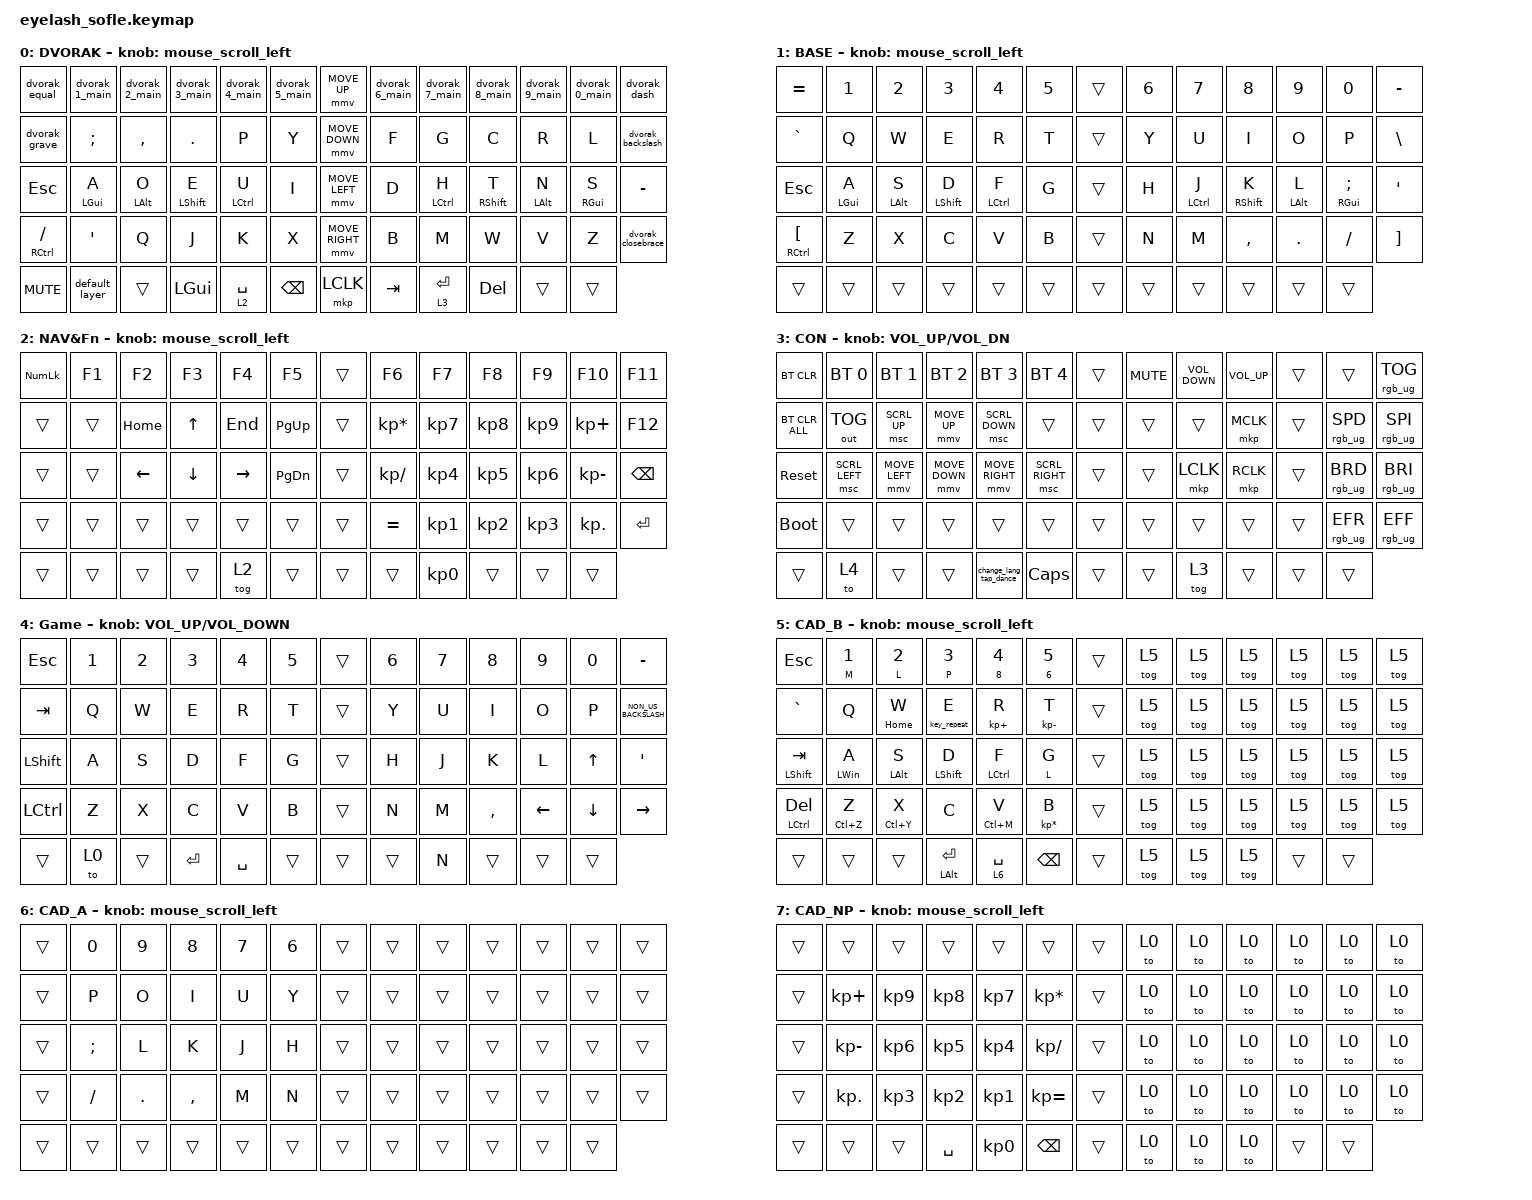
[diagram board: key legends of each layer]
#define ZMK_POINTING_DEFAULT_MOVE_VAL 1200  // 600
#define ZMK_POINTING_DEFAULT_SCRL_VAL 25   // 10

#include <input/processors.dtsi>
#include <zephyr/dt-bindings/input/input-event-codes.h>
#include <behaviors.dtsi>
#include <dt-bindings/zmk/bt.h>
#include <dt-bindings/zmk/keys.h>
#include <dt-bindings/zmk/outputs.h>
#include <dt-bindings/zmk/pointing.h>
#include <dt-bindings/zmk/rgb.h>

&mmv_input_listener { input-processors = <&zip_xy_scaler 2 1>; };

&msc_input_listener { input-processors = <&zip_scroll_scaler 2 1>; };

&msc {
    acceleration-exponent = <1>;      // 0
    time-to-max-speed-ms = <100>;       // 300
    delay-ms = <0>;                   // 0
};

&mmv {
    time-to-max-speed-ms = <500>;
    acceleration-exponent = <1>;
    trigger-period-ms = <16>;
};

&mt {
    flavor = "balanced";
    tapping-term-ms = <280>;
    quick-tap-ms = <175>;
    require-prior-idle-ms = <150>;
};

&lt {
    tapping-term-ms = <280>;
    quick-tap-ms = <175>;
    require-prior-idle-ms = <150>;
    flavor = "balanced";
};

/ {
    combos {
        compatible = "zmk,combos";

        tog2a {
            bindings = <&tog 2>;
            key-positions = <34 35 36>;
            layers = <0 1 2>;
        };

        tog2b {
            bindings = <&tog 2>;
            key-positions = <30 29 28>;
            layers = <2>;
        };

        tog2c {
            bindings = <&tog 2>;
            key-positions = <28 16 30>;
            layers = <0 1 2>;
        };

        tog3a {
            bindings = <&tog 3>;
            key-positions = <30 29 28>;
            layers = <0 1 3>;
        };

        tog3b {
            bindings = <&tog 3>;
            key-positions = <34 35 36>;
            layers = <3>;
        };

        Numpad_Enter1 {
            bindings = <&kp ENTER>;
            key-positions = <34 35>;
            layers = <2>;
        };

        Numpad_Enter2 {
            bindings = <&kp ENTER>;
            key-positions = <30 29>;
            layers = <2 7>;
        };

        Numpad_ESC1 {
            bindings = <&kp ESCAPE>;
            key-positions = <35 36>;
            layers = <2>;
        };

        Numpad_ESC2 {
            bindings = <&kp ESCAPE>;
            key-positions = <29 28>;
            layers = <2 7>;
        };

        togCAD1 {
            bindings = <&tog 5>;
            key-positions = <29 27 30>;
            layers = <0 1 2>;
        };

        togCAD2 {
            bindings = <&tog 5>;
            key-positions = <28 29 30>;
            layers = <5>;
        };

        toBase {
            bindings = <&to 0>;
            key-positions = <28 29 30 34 35 36>;
        };

        togCadNP1 {
            bindings = <&tog 7>;
            key-positions = <15 16 17>;
            layers = <5 7>;
        };

        togCadNP2 {
            bindings = <&tog 7>;
            key-positions = <28 29 30>;
            layers = <7>;
        };
    };

    hml: hml {
        compatible = "zmk,behavior-hold-tap";
        label = "HML";
        bindings = <&kp>, <&kp>;

        #binding-cells = <2>;
        tapping-term-ms = <280>;
        quick-tap-ms = <175>;
        require-prior-idle-ms = <150>;
        flavor = "balanced";
        hold-trigger-on-release;
        hold-trigger-key-positions = <7 8 9 10 11 12 20 21 22 23 24 25 33 34 35 36 37 38 46 47 48 49 50 51 60 61 62 63 59 57 56 55 54 53>;
    };

    hmr: hmr {
        compatible = "zmk,behavior-hold-tap";
        label = "HMR";
        bindings = <&kp>, <&kp>;

        #binding-cells = <2>;
        tapping-term-ms = <280>;
        quick-tap-ms = <175>;
        require-prior-idle-ms = <150>;
        flavor = "balanced";
        hold-trigger-on-release;
        hold-trigger-key-positions = <0 1 2 3 4 5 13 14 15 16 17 18 26 27 28 29 30 31 39 40 41 42 43 44 53 54 55 56 57 59 60 61 63 62>;
    };

    ltthumb: ltthumb {
        compatible = "zmk,behavior-hold-tap";
        label = "LTTHUMB";
        bindings = <&mo>, <&kp>;

        #binding-cells = <2>;
        tapping-term-ms = <280>;
        quick-tap-ms = <175>;
        require-prior-idle-ms = <150>;
        flavor = "balanced";
    };

    dvorak_equal: dvorak_equal {
        compatible = "zmk,behavior-mod-morph";
        label = "DVORAK_EQUAL";
        bindings = <&kp PIPE>, <&kp GRAVE>;

        #binding-cells = <0>;
        mods = <(MOD_LSFT|MOD_RSFT)>;
    };

    dvorak_grave: dvorak_grave {
        compatible = "zmk,behavior-mod-morph";
        label = "DVORAK_GRAVE";
        bindings = <&kp DLLR>, <&kp TILDE>;

        #binding-cells = <0>;
        mods = <(MOD_LSFT|MOD_RSFT)>;
    };

    dvorak_dash: dvorak_dash {
        compatible = "zmk,behavior-mod-morph";
        label = "DVORAK_DASH";
        bindings = <&kp EXCL>, <&kp PRCNT>;

        #binding-cells = <0>;
        mods = <(MOD_LSFT|MOD_RSFT)>;
    };

    dvorak_backslash: dvorak_backslash {
        compatible = "zmk,behavior-mod-morph";
        label = "DVORAK_BACKSLASH";
        bindings = <&kp BACKSLASH>, <&kp HASH>;

        #binding-cells = <0>;
        mods = <(MOD_LSFT|MOD_RSFT)>;
    };

    dvorak_closebrace: dvorak_closebrace {
        compatible = "zmk,behavior-mod-morph";
        label = "DVORAK_CLOSEBRACE";
        bindings = <&kp AT>, <&kp CARET>;

        #binding-cells = <0>;
        mods = <(MOD_LSFT|MOD_RSFT)>;
    };

    dvorak_1: dvorak_1 {
        compatible = "zmk,behavior-mod-morph";
        label = "DVORAK_1";
        bindings = <&kp PLUS>, <&kp NUMBER_1>;

        #binding-cells = <0>;
        mods = <(MOD_RSFT)>;
    };

    dvorak_2: dvorak_2 {
        compatible = "zmk,behavior-mod-morph";
        label = "DVORAK_2";
        bindings = <&kp LEFT_BRACKET>, <&kp NUMBER_2>;

        #binding-cells = <0>;
        mods = <(MOD_RSFT)>;
    };

    dvorak_3: dvorak_3 {
        compatible = "zmk,behavior-mod-morph";
        label = "DVORAK_3";
        bindings = <&kp LBRC>, <&kp NUMBER_3>;

        #binding-cells = <0>;
        mods = <(MOD_RSFT)>;
    };

    dvorak_4: dvorak_4 {
        compatible = "zmk,behavior-mod-morph";
        label = "DVORAK_4";
        bindings = <&kp LPAR>, <&kp NUMBER_4>;

        #binding-cells = <0>;
        mods = <(MOD_RSFT)>;
    };

    dvorak_5: dvorak_5 {
        compatible = "zmk,behavior-mod-morph";
        label = "DVORAK_5";
        bindings = <&kp AMPS>, <&kp N5>;

        #binding-cells = <0>;
        mods = <(MOD_RSFT)>;
    };

    dvorak_6: dvorak_6 {
        compatible = "zmk,behavior-mod-morph";
        label = "DVORAK_6";
        bindings = <&kp EQUAL>, <&kp NUMBER_6>;

        #binding-cells = <0>;
        mods = <(MOD_LSFT)>;
    };

    dvorak_7: dvorak_7 {
        compatible = "zmk,behavior-mod-morph";
        label = "DVORAK_7";
        bindings = <&kp RPAR>, <&kp N7>;

        #binding-cells = <0>;
        mods = <(MOD_LSFT)>;
    };

    dvorak_8: dvorak_8 {
        compatible = "zmk,behavior-mod-morph";
        label = "DVORAK_8";
        bindings = <&kp RBRC>, <&kp N8>;

        #binding-cells = <0>;
        mods = <(MOD_LSFT)>;
    };

    dvorak_9: dvorak_9 {
        compatible = "zmk,behavior-mod-morph";
        label = "DVORAK_9";
        bindings = <&kp RIGHT_BRACKET>, <&kp N9>;

        #binding-cells = <0>;
        mods = <(MOD_LSFT)>;
    };

    dvorak_0: dvorak_0 {
        compatible = "zmk,behavior-mod-morph";
        label = "DVORAK_0";
        bindings = <&kp STAR>, <&kp N0>;

        #binding-cells = <0>;
        mods = <(MOD_LSFT)>;
    };

    dvorak_1_main: dvorak_1_main {
        compatible = "zmk,behavior-mod-morph";
        label = "DVORAK_1_MAIN";
        bindings = <&dvorak_1>, <&kp NUMBER_1>;

        #binding-cells = <0>;
        mods = <(MOD_LCTL|MOD_LALT|MOD_RGUI)>;
        keep-mods = <(MOD_LCTL|MOD_LALT|MOD_RGUI)>;
    };

    dvorak_2_main: dvorak_2_main {
        compatible = "zmk,behavior-mod-morph";
        label = "DVORAK_2_MAIN";
        bindings = <&dvorak_2>, <&kp NUMBER_2>;

        #binding-cells = <0>;
        mods = <(MOD_LCTL|MOD_LALT|MOD_RGUI)>;
        keep-mods = <(MOD_LCTL|MOD_LALT|MOD_RGUI)>;
    };

    dvorak_3_main: dvorak_3_main {
        compatible = "zmk,behavior-mod-morph";
        label = "DVORAK_3_MAIN";
        bindings = <&dvorak_3>, <&kp NUMBER_3>;

        #binding-cells = <0>;
        mods = <(MOD_LCTL|MOD_LALT|MOD_RGUI)>;
        keep-mods = <(MOD_LCTL|MOD_LALT|MOD_RGUI)>;
    };

    dvorak_4_main: dvorak_4_main {
        compatible = "zmk,behavior-mod-morph";
        label = "DVORAK_4_MAIN";
        bindings = <&dvorak_4>, <&kp NUMBER_4>;

        #binding-cells = <0>;
        mods = <(MOD_LCTL|MOD_LALT|MOD_RGUI)>;
        keep-mods = <(MOD_LCTL|MOD_LALT|MOD_RGUI)>;
    };

    dvorak_5_main: dvorak_5_main {
        compatible = "zmk,behavior-mod-morph";
        label = "DVORAK_5_MAIN";
        bindings = <&dvorak_5>, <&kp N5>;

        #binding-cells = <0>;
        mods = <(MOD_LCTL|MOD_LALT|MOD_RGUI)>;
        keep-mods = <(MOD_LCTL|MOD_LALT|MOD_RGUI)>;
    };

    dvorak_6_main: dvorak_6_main {
        compatible = "zmk,behavior-mod-morph";
        label = "DVORAK_6_MAIN";
        bindings = <&dvorak_6>, <&kp NUMBER_6>;

        #binding-cells = <0>;
        mods = <(MOD_LCTL|MOD_LALT|MOD_LGUI)>;
        keep-mods = <(MOD_LCTL|MOD_LALT|MOD_LGUI)>;
    };

    dvorak_7_main: dvorak_7_main {
        compatible = "zmk,behavior-mod-morph";
        label = "DVORAK_7_MAIN";
        bindings = <&dvorak_7>, <&kp NUMBER_7>;

        #binding-cells = <0>;
        mods = <(MOD_LCTL|MOD_LALT|MOD_LGUI)>;
        keep-mods = <(MOD_LCTL|MOD_LALT|MOD_LGUI)>;
    };

    dvorak_8_main: dvorak_8_main {
        compatible = "zmk,behavior-mod-morph";
        label = "DVORAK_8_MAIN";
        bindings = <&dvorak_8>, <&kp N8>;

        #binding-cells = <0>;
        mods = <(MOD_LCTL|MOD_LALT|MOD_LGUI)>;
        keep-mods = <(MOD_LCTL|MOD_LALT|MOD_LGUI)>;
    };

    dvorak_9_main: dvorak_9_main {
        compatible = "zmk,behavior-mod-morph";
        label = "DVORAK_9_MAIN";
        bindings = <&dvorak_9>, <&kp N9>;

        #binding-cells = <0>;
        mods = <(MOD_LCTL|MOD_LALT|MOD_LGUI)>;
        keep-mods = <(MOD_LCTL|MOD_LALT|MOD_LGUI)>;
    };

    dvorak_0_main: dvorak_0_main {
        compatible = "zmk,behavior-mod-morph";
        label = "DVORAK_0_MAIN";
        bindings = <&dvorak_0>, <&kp N0>;

        #binding-cells = <0>;
        mods = <(MOD_LCTL|MOD_LALT|MOD_LGUI)>;
        keep-mods = <(MOD_LCTL|MOD_LALT|MOD_LGUI)>;
    };

    default_layer: default_layer {
        compatible = "zmk,behavior-tap-dance";
        label = "DEFAULT_LAYER";
        #binding-cells = <0>;
        bindings = <&tog 1>, <&to 0>;

        tapping-term-ms = <175>;
    };

    change_lang_tap_dance: change_lang_tap_dance {
        compatible = "zmk,behavior-tap-dance";
        label = "CHANGE_LANG_TAP_DANCE";
        #binding-cells = <0>;
        bindings = <&change_lang>, <&to 0>, <&to 1>;

        tapping-term-ms = <175>;
    };

    mouse_scroll_left: mouse_scroll_left {
        compatible = "zmk,behavior-sensor-rotate";
        #sensor-binding-cells = <0>;
        tap-ms = <100>;
        label = "MOUSE_SCROLL_LEFT";
        bindings = <&msc SCRL_DOWN>, <&msc SCRL_UP>;
    };

    taprepeat: taprepeat {
        compatible = "zmk,behavior-hold-tap";
        label = "TAPREPEAT";
        bindings = <&key_repeat>, <&kp>;

        #binding-cells = <2>;
        flavor = "balanced";
        tapping-term-ms = <280>;
        quick-tap-ms = <175>;
        require-prior-idle-ms = <150>;
    };

    layerhold: layerhold {
        compatible = "zmk,behavior-hold-tap";
        label = "LAYERHOLD";
        bindings = <&tog>, <&kp>;

        #binding-cells = <2>;
        flavor = "balanced";
        tapping-term-ms = <280>;
        quick-tap-ms = <175>;
        require-prior-idle-ms = <150>;
    };

    behaviors {
    };

    macros {
        change_lang: change_lang {
            compatible = "zmk,behavior-macro";
            #binding-cells = <0>;
            bindings = <&tog 1 &kp LG(SPACE)>;
            label = "CHANGE_LANG";
        };
    };

    keymap {
        compatible = "zmk,keymap";

        dvorak {
            display-name = "DVORAK";
            bindings = <
&dvorak_equal             &dvorak_1_main   &dvorak_2_main   &dvorak_3_main     &dvorak_4_main       &dvorak_5_main    &mmv MOVE_UP     &dvorak_6_main  &dvorak_7_main       &dvorak_8_main      &dvorak_9_main   &dvorak_0_main    &dvorak_dash
&dvorak_grave             &kp SEMICOLON    &kp COMMA        &kp PERIOD         &kp P                &kp Y             &mmv MOVE_DOWN   &kp F           &kp G                &kp C               &kp R            &kp L             &dvorak_backslash
&kp ESCAPE                &hml LEFT_GUI A  &hml LEFT_ALT O  &hml LEFT_SHIFT E  &hml LEFT_CONTROL U  &kp I             &mmv MOVE_LEFT   &kp D           &hmr LEFT_CONTROL H  &hmr RIGHT_SHIFT T  &hmr LEFT_ALT N  &hmr RIGHT_GUI S  &kp MINUS
&hml RIGHT_CONTROL SLASH  &kp SQT          &kp Q            &kp J              &kp K                &kp X             &mmv MOVE_RIGHT  &kp B           &kp M                &kp W               &kp V            &kp Z             &dvorak_closebrace
&kp C_MUTE                &default_layer   &trans           &kp LEFT_GUI       &ltthumb 2 SPACE     &kp BACKSPACE     &mkp LCLK        &kp TAB         &ltthumb 3 ENTER     &kp DELETE          &trans           &trans
            >;

            sensor-bindings = <&mouse_scroll_left>;
        };

        base {
            bindings = <
&kp EQUAL                        &kp N1           &kp N2           &kp N3             &kp N4               &kp N5    &trans  &kp N6  &kp N7               &kp N8              &kp N9           &kp N0               &kp MINUS
&kp GRAVE                        &kp Q            &kp W            &kp E              &kp R                &kp T     &trans  &kp Y   &kp U                &kp I               &kp O            &kp P                &kp BACKSLASH
&kp ESCAPE                       &hml LEFT_GUI A  &hml LEFT_ALT S  &hml LEFT_SHIFT D  &hml LEFT_CONTROL F  &kp G     &trans  &kp H   &hmr LEFT_CONTROL J  &hmr RIGHT_SHIFT K  &hmr LEFT_ALT L  &hmr RIGHT_GUI SEMI  &kp APOS
&hml RIGHT_CONTROL LEFT_BRACKET  &kp Z            &kp X            &kp C              &kp V                &kp B     &trans  &kp N   &kp M                &kp COMMA           &kp DOT          &kp SLASH            &kp RIGHT_BRACKET
&trans                           &trans           &trans           &trans             &trans               &trans    &trans  &trans  &trans               &trans              &trans           &trans
            >;

            sensor-bindings = <&mouse_scroll_left>;
            display-name = "BASE";
        };

        layer2 {
            display-name = "NAV&Fn";
            bindings = <
&kp KP_NUMLOCK  &kp F1  &kp F2    &kp F3          &kp F4     &kp F5           &trans  &kp F6           &kp F7           &kp F8           &kp F9           &kp F10       &kp F11
&trans          &trans  &kp HOME  &kp UP_ARROW    &kp END    &kp PG_UP        &trans  &kp KP_MULTIPLY  &kp KP_NUMBER_7  &kp KP_NUMBER_8  &kp KP_NUMBER_9  &kp KP_PLUS   &kp F12
&trans          &trans  &kp LEFT  &kp DOWN_ARROW  &kp RIGHT  &kp PAGE_DOWN    &trans  &kp KP_SLASH     &kp KP_NUMBER_4  &kp KP_NUMBER_5  &kp KP_NUMBER_6  &kp KP_MINUS  &kp BACKSPACE
&trans          &trans  &trans    &trans          &trans     &trans           &trans  &kp EQUAL        &kp KP_NUMBER_1  &kp KP_NUMBER_2  &kp KP_NUMBER_3  &kp KP_DOT    &kp ENTER
&trans          &trans  &trans    &trans          &tog 2     &trans           &trans  &trans           &kp KP_NUMBER_0  &trans           &trans           &trans
            >;

            sensor-bindings = <&mouse_scroll_left>;
        };

        layer3 {
            label = "CON";
            bindings = <
&bt BT_CLR      &bt BT_SEL 0    &bt BT_SEL 1    &bt BT_SEL 2    &bt BT_SEL 3            &bt BT_SEL 4       &trans  &kp C_MUTE  &kp C_VOLUME_DOWN  &kp C_VOL_UP  &trans  &trans           &rgb_ug RGB_TOG
&bt BT_CLR_ALL  &out OUT_TOG    &msc SCRL_UP    &mmv MOVE_UP    &msc SCRL_DOWN          &trans             &trans  &trans      &trans             &mkp MCLK     &trans  &rgb_ug RGB_SPD  &rgb_ug RGB_SPI
&sys_reset      &msc SCRL_LEFT  &mmv MOVE_LEFT  &mmv MOVE_DOWN  &mmv MOVE_RIGHT         &msc SCRL_RIGHT    &trans  &trans      &mkp LCLK          &mkp RCLK     &trans  &rgb_ug RGB_BRD  &rgb_ug RGB_BRI
&bootloader     &trans          &trans          &trans          &trans                  &trans             &trans  &trans      &trans             &trans        &trans  &rgb_ug RGB_EFR  &rgb_ug RGB_EFF
&trans          &to 4           &trans          &trans          &change_lang_tap_dance  &kp CAPS           &trans  &trans      &tog 3             &trans        &trans  &trans
            >;

            sensor-bindings = <&inc_dec_kp C_VOL_UP C_VOL_DN>;
        };

        game {
            label = "Game";
            bindings = <
&kp ESCAPE        &kp N1  &kp N2  &kp N3     &kp N4     &kp N5    &trans  &kp N6  &kp N7  &kp N8     &kp N9          &kp N0        &kp MINUS
&kp TAB           &kp Q   &kp W   &kp E      &kp R      &kp T     &trans  &kp Y   &kp U   &kp I      &kp O           &kp P         &kp NON_US_BACKSLASH
&kp LEFT_SHIFT    &kp A   &kp S   &kp D      &kp F      &kp G     &trans  &kp H   &kp J   &kp K      &kp L           &kp UP_ARROW  &kp SQT
&kp LEFT_CONTROL  &kp Z   &kp X   &kp C      &kp V      &kp B     &trans  &kp N   &kp M   &kp COMMA  &kp LEFT_ARROW  &kp DOWN      &kp RIGHT
&trans            &to 0   &trans  &kp ENTER  &kp SPACE  &trans    &trans  &trans  &kp N   &trans     &trans          &trans
            >;

            sensor-bindings = <&inc_dec_kp C_VOLUME_UP C_VOLUME_DOWN>;
        };

        cad_base {
            display-name = "CAD_B";
            bindings = <
&kp ESCAPE               &mt M NUMBER_1  &mt L NUMBER_2  &mt P NUMBER_3      &mt N8 NUMBER_4     &mt NUMBER_6 N5      &trans  &tog 5  &tog 5  &tog 5  &tog 5  &tog 5  &tog 5
&kp GRAVE                &kp Q           &mt HOME W      &taprepeat 0 E      &mt KP_PLUS R       &mt KP_SUBTRACT T    &trans  &tog 5  &tog 5  &tog 5  &tog 5  &tog 5  &tog 5
&mt LEFT_SHIFT TAB       &mt LEFT_WIN A  &mt LEFT_ALT S  &mt LEFT_SHIFT D    &mt LEFT_CONTROL F  &mt L G              &trans  &tog 5  &tog 5  &tog 5  &tog 5  &tog 5  &tog 5
&mt LEFT_CONTROL DELETE  &mt LC(Z) Z     &mt LC(Y) X     &kp C               &mt LC(M) V         &mt KP_ASTERISK B    &trans  &tog 5  &tog 5  &tog 5  &tog 5  &tog 5  &tog 5
&trans                   &trans          &trans          &mt LEFT_ALT ENTER  &lt 6 SPACE         &kp BACKSPACE        &trans  &tog 5  &tog 5  &tog 5  &trans  &trans
            >;

            sensor-bindings = <&mouse_scroll_left>;
        };

        cad_anotherhalf {
            display-name = "CAD_A";
            bindings = <
&trans  &kp N0         &kp N9      &kp N8     &kp N7  &kp NUMBER_6    &trans  &trans  &trans  &trans  &trans  &trans  &trans
&trans  &kp P          &kp O       &kp I      &kp U   &kp Y           &trans  &trans  &trans  &trans  &trans  &trans  &trans
&trans  &kp SEMICOLON  &kp L       &kp K      &kp J   &kp H           &trans  &trans  &trans  &trans  &trans  &trans  &trans
&trans  &kp SLASH      &kp PERIOD  &kp COMMA  &kp M   &kp N           &trans  &trans  &trans  &trans  &trans  &trans  &trans
&trans  &trans         &trans      &trans     &trans  &trans          &trans  &trans  &trans  &trans  &trans  &trans
            >;

            sensor-bindings = <&mouse_scroll_left>;
        };

        cad_np {
            display-name = "CAD_NP";
            bindings = <
&trans  &trans        &trans           &trans           &trans           &trans             &trans  &to 0  &to 0  &to 0  &to 0   &to 0   &to 0
&trans  &kp KP_PLUS   &kp KP_NUMBER_9  &kp KP_NUMBER_8  &kp KP_NUMBER_7  &kp KP_MULTIPLY    &trans  &to 0  &to 0  &to 0  &to 0   &to 0   &to 0
&trans  &kp KP_MINUS  &kp KP_NUMBER_6  &kp KP_NUMBER_5  &kp KP_NUMBER_4  &kp KP_DIVIDE      &trans  &to 0  &to 0  &to 0  &to 0   &to 0   &to 0
&trans  &kp KP_DOT    &kp KP_NUMBER_3  &kp KP_NUMBER_2  &kp KP_NUMBER_1  &kp KP_EQUAL       &trans  &to 0  &to 0  &to 0  &to 0   &to 0   &to 0
&trans  &trans        &trans           &kp SPACE        &kp KP_N0        &kp BACKSPACE      &trans  &to 0  &to 0  &to 0  &trans  &trans
            >;

            sensor-bindings = <&mouse_scroll_left>;
        };
    };

    conditional_layers { compatible = "zmk,conditional-layers"; };
};
